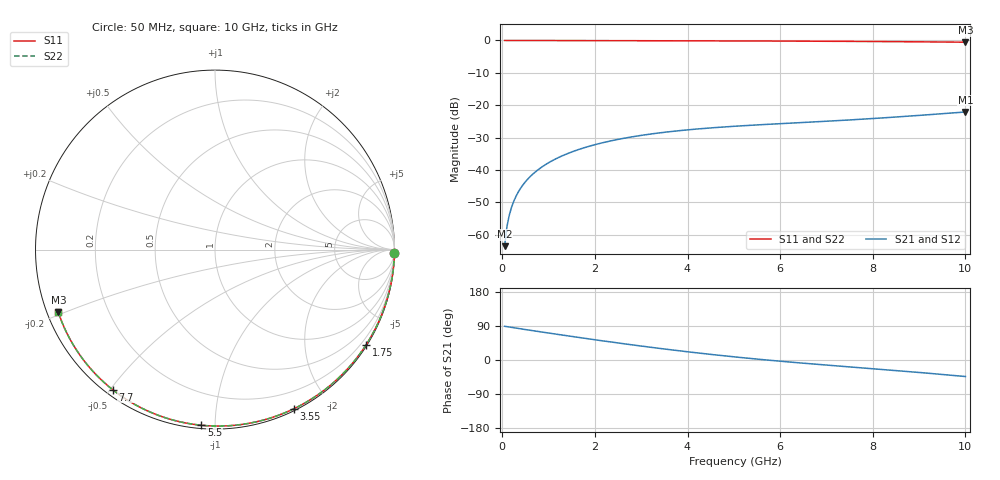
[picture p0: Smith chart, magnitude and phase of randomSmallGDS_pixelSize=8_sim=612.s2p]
! freq	dB(S11)	phase(S11)	dB(S12)	phase(S12)
!  dB(S21)	phase(S21)	dB(S22)	phase(S22)
!S-par simulation data
#  GHz  S  DB  R 50
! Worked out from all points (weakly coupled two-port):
!   200 points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, 50 MHz to 10 GHz, reference 50 ohm
!   highest |S21| = -22.10 dB at 10 GHz (marker M1); lowest = -63.6 dB at 50 MHz (marker M2)
!   lowest |S11| = -0.5 dB at 10 GHz (marker M3), VSWR 32.46, Z = 1.6 - j9.65 ohm
!   |S11| at or under -10 dB: nowhere
!   |S22| runs from -0.5 to 0.0 dB; largest |S21 - S12| = 0
!   S11 on the Smith chart (normalised r, x): 50 MHz: open; 1.75 GHz: 0.03, -3.45; 3.55 GHz: 0.02, -1.61; 5.5 GHz: 0.02, -0.93; 7.7 GHz: 0.02, -0.51; 10 GHz: 0.03, -0.19
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0.05  -0.00 -0.9  -63.57 89.0  -63.57 89.0  -0.00 -0.9
0.1  -0.00 -1.9  -57.55 88.0  -57.55 88.0  -0.00 -1.9
0.15  -0.00 -2.8  -54.03 87.0  -54.03 87.0  -0.00 -2.8
0.2  -0.00 -3.8  -51.54 86.0  -51.54 86.0  -0.00 -3.8
0.25  -0.00 -4.7  -49.61 85.1  -49.61 85.1  -0.00 -4.7
0.35  -0.00 -6.6  -46.71 83.1  -46.71 83.1  -0.00 -6.6
0.5  -0.01 -9.4  -43.65 80.3  -43.65 80.3  -0.01 -9.4
0.7  -0.01 -13.1  -40.78 76.6  -40.78 76.6  -0.01 -13.1
1  -0.02 -18.6  -37.78 71.1  -37.78 71.1  -0.02 -18.6
1.35  -0.03 -25.0  -35.30 64.8  -35.30 64.8  -0.03 -25.1
1.75  -0.04 -32.3  -33.23 57.8  -33.23 57.8  -0.04 -32.3
2.5  -0.06 -45.6  -30.57 44.9  -30.57 44.9  -0.06 -45.6
3.4  -0.09 -61.0  -28.55 30.5  -28.55 30.5  -0.09 -61.1
3.55  -0.09 -63.5  -28.29 28.3  -28.29 28.3  -0.09 -63.6
4.3  -0.11 -75.8  -27.25 17.5  -27.25 17.5  -0.11 -75.8
5.05  -0.14 -87.6  -26.48 7.8  -26.48 7.8  -0.14 -87.6
5.5  -0.16 -94.4  -26.10 2.4  -26.10 2.4  -0.16 -94.5
6.7  -0.22 -112.0  -25.19 -10.4  -25.19 -10.4  -0.22 -112.1
7.7  -0.30 -126.2  -24.39 -20.1  -24.39 -20.1  -0.30 -126.3
8.35  -0.35 -135.2  -23.80 -26.3  -23.80 -26.3  -0.35 -135.3
9.2  -0.44 -147.0  -22.95 -34.9  -22.95 -34.9  -0.44 -147.1
10  -0.54 -158.1  -22.10 -43.6  -22.10 -43.6  -0.54 -158.2
